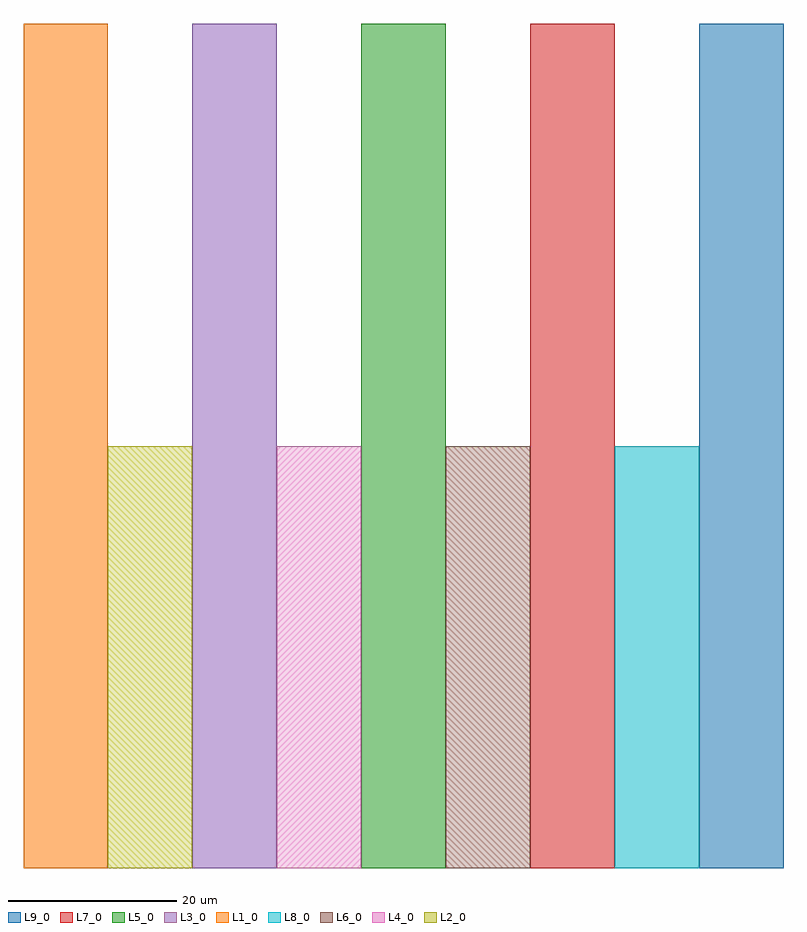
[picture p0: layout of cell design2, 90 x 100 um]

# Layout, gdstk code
import gdstk
lib = gdstk.Library(unit=1e-6, precision=1e-09)
def R(c, l, rs):  # rectangles x0, y0, x1, y1
    for r in rs: c.add(gdstk.rectangle(r[:2], r[2:], *l))
L1_0 = (1, 0)
L2_0 = (2, 0)
L3_0 = (3, 0)
L4_0 = (4, 0)
L5_0 = (5, 0)
L6_0 = (6, 0)
L7_0 = (7, 0)
L8_0 = (8, 0)
L9_0 = (9, 0)

design2 = lib.new_cell('design2')
R(design2, L1_0, [(0,0,10,100)])
R(design2, L2_0, [(10,0,20,50)])
R(design2, L3_0, [(20,0,30,100)])
R(design2, L4_0, [(30,0,40,50)])
R(design2, L5_0, [(40,0,50,100)])
R(design2, L6_0, [(50,0,60,50)])
R(design2, L7_0, [(60,0,70,100)])
R(design2, L8_0, [(70,0,80,50)])
R(design2, L9_0, [(80,0,90,100)])

lib.write_gds('design2.gds')
